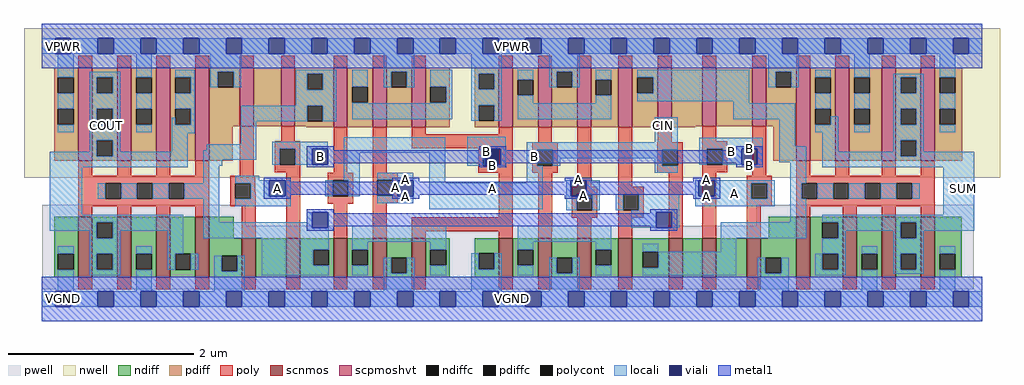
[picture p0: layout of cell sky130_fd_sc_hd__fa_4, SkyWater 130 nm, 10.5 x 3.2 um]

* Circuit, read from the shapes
.subckt sky130_fd_sc_hd__fa_4 A B CIN VGND VNB VPB VPWR COUT SUM
XM1 COUT n1 VGND VNB sky130_fd_pr__nfet_01v8 w=0.65 l=0.15 m=4
XM2 n2 A VGND VNB sky130_fd_pr__nfet_01v8 w=0.42 l=0.15
XM3 n1 B n2 VNB sky130_fd_pr__nfet_01v8 w=0.42 l=0.15
XM4 n3 CIN n1 VNB sky130_fd_pr__nfet_01v8 w=0.42 l=0.15
XM5 VGND A n3 VNB sky130_fd_pr__nfet_01v8 w=0.42 l=0.15
XM6 n3 B VGND VNB sky130_fd_pr__nfet_01v8 w=0.42 l=0.15
XM7 n4 B VGND VNB sky130_fd_pr__nfet_01v8 w=0.42 l=0.15
XM8 VGND CIN n4 VNB sky130_fd_pr__nfet_01v8 w=0.42 l=0.15
XM9 n4 A VGND VNB sky130_fd_pr__nfet_01v8 w=0.42 l=0.15
XM10 n5 n1 n4 VNB sky130_fd_pr__nfet_01v8 w=0.42 l=0.15
XM11 n6 CIN n5 VNB sky130_fd_pr__nfet_01v8 w=0.42 l=0.15
XM12 n7 B n6 VNB sky130_fd_pr__nfet_01v8 w=0.42 l=0.15
XM13 VGND A n7 VNB sky130_fd_pr__nfet_01v8 w=0.42 l=0.15
XM14 SUM n5 VGND VNB sky130_fd_pr__nfet_01v8 w=0.65 l=0.15 m=4
XM15 COUT n1 VPWR VPB sky130_fd_pr__pfet_01v8_hvt w=1 l=0.15 m=4
XM16 n8 A VPWR VPB sky130_fd_pr__pfet_01v8_hvt w=0.63 l=0.15
XM17 n1 B n8 VPB sky130_fd_pr__pfet_01v8_hvt w=0.63 l=0.15
XM18 n9 CIN n1 VPB sky130_fd_pr__pfet_01v8_hvt w=0.64 l=0.15
XM19 VPWR A n9 VPB sky130_fd_pr__pfet_01v8_hvt w=0.64 l=0.15
XM20 n9 B VPWR VPB sky130_fd_pr__pfet_01v8_hvt w=0.64 l=0.15
XM21 n10 B VPWR VPB sky130_fd_pr__pfet_01v8_hvt w=0.64 l=0.15
XM22 VPWR CIN n10 VPB sky130_fd_pr__pfet_01v8_hvt w=0.64 l=0.15
XM23 n10 A VPWR VPB sky130_fd_pr__pfet_01v8_hvt w=0.64 l=0.15
XM24 n5 n1 n10 VPB sky130_fd_pr__pfet_01v8_hvt w=0.64 l=0.15
XM25 n11 CIN n5 VPB sky130_fd_pr__pfet_01v8_hvt w=0.64 l=0.15
XM26 n12 B n11 VPB sky130_fd_pr__pfet_01v8_hvt w=0.63 l=0.15
XM27 VPWR A n12 VPB sky130_fd_pr__pfet_01v8_hvt w=0.63 l=0.15
XM28 SUM n5 VPWR VPB sky130_fd_pr__pfet_01v8_hvt w=1 l=0.15 m=4
.ends

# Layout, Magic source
magic
tech sky130B
magscale 1 2
<< nwell >>
rect -38 261 2062 582
<< pwell >>
rect 1 157 439 203
rect 1538 157 2006 203
rect 1 21 2006 157
rect 30 -17 64 21
<< scnmos >>
rect 79 47 109 177
rect 163 47 193 177
rect 247 47 277 177
rect 331 47 361 177
rect 431 47 461 131
rect 526 47 556 131
rect 628 47 658 131
rect 712 47 742 131
rect 796 47 826 131
rect 984 47 1014 131
rect 1068 47 1098 131
rect 1152 47 1182 131
rect 1241 47 1271 131
rect 1349 47 1379 131
rect 1421 47 1451 131
rect 1517 47 1547 131
rect 1624 47 1654 177
rect 1724 47 1754 177
rect 1808 47 1838 177
rect 1892 47 1922 177
<< scpmoshvt >>
rect 79 297 109 497
rect 163 297 193 497
rect 247 297 277 497
rect 331 297 361 497
rect 426 371 456 497
rect 515 371 545 497
rect 628 369 658 497
rect 712 369 742 497
rect 796 369 826 497
rect 984 369 1014 497
rect 1068 369 1098 497
rect 1152 369 1182 497
rect 1241 369 1271 497
rect 1326 369 1356 497
rect 1421 371 1451 497
rect 1529 371 1559 497
rect 1624 297 1654 497
rect 1708 297 1738 497
rect 1808 297 1838 497
rect 1892 297 1922 497
<< ndiff >>
rect 27 97 79 177
rect 27 63 35 97
rect 69 63 79 97
rect 27 47 79 63
rect 109 165 163 177
rect 109 131 119 165
rect 153 131 163 165
rect 109 97 163 131
rect 109 63 119 97
rect 153 63 163 97
rect 109 47 163 63
rect 193 97 247 177
rect 193 63 203 97
rect 237 63 247 97
rect 193 47 247 63
rect 277 97 331 177
rect 277 63 287 97
rect 321 63 331 97
rect 277 47 331 63
rect 361 131 413 177
rect 1564 131 1624 177
rect 361 93 431 131
rect 361 59 387 93
rect 421 59 431 93
rect 361 47 431 59
rect 461 47 526 131
rect 556 106 628 131
rect 556 72 584 106
rect 618 72 628 106
rect 556 47 628 72
rect 658 106 712 131
rect 658 72 668 106
rect 702 72 712 106
rect 658 47 712 72
rect 742 89 796 131
rect 742 55 752 89
rect 786 55 796 89
rect 742 47 796 55
rect 826 106 878 131
rect 826 72 836 106
rect 870 72 878 106
rect 826 47 878 72
rect 932 98 984 131
rect 932 64 940 98
rect 974 64 984 98
rect 932 47 984 64
rect 1014 106 1068 131
rect 1014 72 1024 106
rect 1058 72 1068 106
rect 1014 47 1068 72
rect 1098 89 1152 131
rect 1098 55 1108 89
rect 1142 55 1152 89
rect 1098 47 1152 55
rect 1182 106 1241 131
rect 1182 72 1192 106
rect 1226 72 1241 106
rect 1182 47 1241 72
rect 1271 101 1349 131
rect 1271 67 1293 101
rect 1327 67 1349 101
rect 1271 47 1349 67
rect 1379 47 1421 131
rect 1451 47 1517 131
rect 1547 89 1624 131
rect 1547 55 1557 89
rect 1591 55 1624 89
rect 1547 47 1624 55
rect 1654 165 1724 177
rect 1654 131 1680 165
rect 1714 131 1724 165
rect 1654 97 1724 131
rect 1654 63 1680 97
rect 1714 63 1724 97
rect 1654 47 1724 63
rect 1754 97 1808 177
rect 1754 63 1764 97
rect 1798 63 1808 97
rect 1754 47 1808 63
rect 1838 165 1892 177
rect 1838 131 1848 165
rect 1882 131 1892 165
rect 1838 97 1892 131
rect 1838 63 1848 97
rect 1882 63 1892 97
rect 1838 47 1892 63
rect 1922 97 1980 177
rect 1922 63 1932 97
rect 1966 63 1980 97
rect 1922 47 1980 63
<< pdiff >>
rect 27 477 79 497
rect 27 443 35 477
rect 69 443 79 477
rect 27 409 79 443
rect 27 375 35 409
rect 69 375 79 409
rect 27 297 79 375
rect 109 477 163 497
rect 109 443 119 477
rect 153 443 163 477
rect 109 409 163 443
rect 109 375 119 409
rect 153 375 163 409
rect 109 341 163 375
rect 109 307 119 341
rect 153 307 163 341
rect 109 297 163 307
rect 193 477 247 497
rect 193 443 203 477
rect 237 443 247 477
rect 193 409 247 443
rect 193 375 203 409
rect 237 375 247 409
rect 193 297 247 375
rect 277 477 331 497
rect 277 443 287 477
rect 321 443 331 477
rect 277 409 331 443
rect 277 375 287 409
rect 321 375 331 409
rect 277 297 331 375
rect 361 489 426 497
rect 361 455 379 489
rect 413 455 426 489
rect 361 371 426 455
rect 456 371 515 497
rect 545 484 628 497
rect 545 450 571 484
rect 605 450 628 484
rect 545 416 628 450
rect 545 382 571 416
rect 605 382 628 416
rect 545 371 628 382
rect 361 297 411 371
rect 569 369 628 371
rect 658 456 712 497
rect 658 422 668 456
rect 702 422 712 456
rect 658 369 712 422
rect 742 489 796 497
rect 742 455 752 489
rect 786 455 796 489
rect 742 369 796 455
rect 826 456 878 497
rect 826 422 836 456
rect 870 422 878 456
rect 826 369 878 422
rect 932 485 984 497
rect 932 451 940 485
rect 974 451 984 485
rect 932 417 984 451
rect 932 383 940 417
rect 974 383 984 417
rect 932 369 984 383
rect 1014 472 1068 497
rect 1014 438 1024 472
rect 1058 438 1068 472
rect 1014 369 1068 438
rect 1098 489 1152 497
rect 1098 455 1108 489
rect 1142 455 1152 489
rect 1098 369 1152 455
rect 1182 472 1241 497
rect 1182 438 1192 472
rect 1226 438 1241 472
rect 1182 369 1241 438
rect 1271 477 1326 497
rect 1271 443 1282 477
rect 1316 443 1326 477
rect 1271 369 1326 443
rect 1356 371 1421 497
rect 1451 371 1529 497
rect 1559 489 1624 497
rect 1559 455 1579 489
rect 1613 455 1624 489
rect 1559 371 1624 455
rect 1356 369 1406 371
rect 1574 297 1624 371
rect 1654 477 1708 497
rect 1654 443 1664 477
rect 1698 443 1708 477
rect 1654 409 1708 443
rect 1654 375 1664 409
rect 1698 375 1708 409
rect 1654 297 1708 375
rect 1738 477 1808 497
rect 1738 443 1748 477
rect 1782 443 1808 477
rect 1738 409 1808 443
rect 1738 375 1748 409
rect 1782 375 1808 409
rect 1738 297 1808 375
rect 1838 477 1892 497
rect 1838 443 1848 477
rect 1882 443 1892 477
rect 1838 409 1892 443
rect 1838 375 1848 409
rect 1882 375 1892 409
rect 1838 341 1892 375
rect 1838 307 1848 341
rect 1882 307 1892 341
rect 1838 297 1892 307
rect 1922 477 1981 497
rect 1922 443 1932 477
rect 1966 443 1981 477
rect 1922 409 1981 443
rect 1922 375 1932 409
rect 1966 375 1981 409
rect 1922 297 1981 375
<< ndiffc >>
rect 35 63 69 97
rect 119 131 153 165
rect 119 63 153 97
rect 203 63 237 97
rect 287 63 321 97
rect 387 59 421 93
rect 584 72 618 106
rect 668 72 702 106
rect 752 55 786 89
rect 836 72 870 106
rect 940 64 974 98
rect 1024 72 1058 106
rect 1108 55 1142 89
rect 1192 72 1226 106
rect 1293 67 1327 101
rect 1557 55 1591 89
rect 1680 131 1714 165
rect 1680 63 1714 97
rect 1764 63 1798 97
rect 1848 131 1882 165
rect 1848 63 1882 97
rect 1932 63 1966 97
<< pdiffc >>
rect 35 443 69 477
rect 35 375 69 409
rect 119 443 153 477
rect 119 375 153 409
rect 119 307 153 341
rect 203 443 237 477
rect 203 375 237 409
rect 287 443 321 477
rect 287 375 321 409
rect 379 455 413 489
rect 571 450 605 484
rect 571 382 605 416
rect 668 422 702 456
rect 752 455 786 489
rect 836 422 870 456
rect 940 451 974 485
rect 940 383 974 417
rect 1024 438 1058 472
rect 1108 455 1142 489
rect 1192 438 1226 472
rect 1282 443 1316 477
rect 1579 455 1613 489
rect 1664 443 1698 477
rect 1664 375 1698 409
rect 1748 443 1782 477
rect 1748 375 1782 409
rect 1848 443 1882 477
rect 1848 375 1882 409
rect 1848 307 1882 341
rect 1932 443 1966 477
rect 1932 375 1966 409
<< poly >>
rect 79 497 109 523
rect 163 497 193 523
rect 247 497 277 523
rect 331 497 361 523
rect 426 497 456 523
rect 515 497 545 523
rect 628 497 658 523
rect 712 497 742 523
rect 796 497 826 523
rect 984 497 1014 523
rect 1068 497 1098 523
rect 1152 497 1182 523
rect 1241 497 1271 523
rect 1326 497 1356 523
rect 1421 497 1451 523
rect 1529 497 1559 523
rect 1624 497 1654 523
rect 1708 497 1738 523
rect 1808 497 1838 523
rect 1892 497 1922 523
rect 79 265 109 297
rect 163 265 193 297
rect 247 265 277 297
rect 331 265 361 297
rect 426 265 456 371
rect 515 339 545 371
rect 502 323 556 339
rect 502 289 512 323
rect 546 289 556 323
rect 502 273 556 289
rect 79 249 361 265
rect 79 215 137 249
rect 171 215 205 249
rect 239 215 273 249
rect 307 215 361 249
rect 79 199 361 215
rect 406 249 460 265
rect 406 215 416 249
rect 450 229 460 249
rect 450 215 461 229
rect 406 199 461 215
rect 79 177 109 199
rect 163 177 193 199
rect 247 177 277 199
rect 331 177 361 199
rect 431 131 461 199
rect 526 131 556 273
rect 628 271 658 369
rect 712 272 742 369
rect 796 354 826 369
rect 984 354 1014 369
rect 796 324 1014 354
rect 1068 337 1098 369
rect 939 321 1014 324
rect 939 287 949 321
rect 983 287 1014 321
rect 616 255 670 271
rect 616 221 626 255
rect 660 221 670 255
rect 616 205 670 221
rect 712 256 766 272
rect 939 271 1014 287
rect 1056 321 1110 337
rect 1056 287 1066 321
rect 1100 287 1110 321
rect 1056 271 1110 287
rect 712 222 722 256
rect 756 222 766 256
rect 712 206 766 222
rect 628 131 658 205
rect 712 131 742 206
rect 984 176 1014 271
rect 1069 176 1099 271
rect 1152 241 1182 369
rect 1241 241 1271 369
rect 1326 337 1356 369
rect 1421 339 1451 371
rect 1325 321 1379 337
rect 1325 287 1335 321
rect 1369 287 1379 321
rect 1325 271 1379 287
rect 796 146 1014 176
rect 796 131 826 146
rect 984 131 1014 146
rect 1068 146 1099 176
rect 1141 225 1195 241
rect 1141 191 1151 225
rect 1185 191 1195 225
rect 1141 175 1195 191
rect 1241 225 1295 241
rect 1241 191 1251 225
rect 1285 191 1295 225
rect 1241 175 1295 191
rect 1068 131 1098 146
rect 1152 131 1182 175
rect 1241 131 1271 175
rect 1349 131 1379 271
rect 1421 323 1475 339
rect 1421 289 1431 323
rect 1465 289 1475 323
rect 1421 273 1475 289
rect 1421 131 1451 273
rect 1529 265 1559 371
rect 1624 265 1654 297
rect 1708 265 1738 297
rect 1808 265 1838 297
rect 1892 265 1922 297
rect 1517 249 1571 265
rect 1517 215 1527 249
rect 1561 215 1571 249
rect 1517 199 1571 215
rect 1624 249 1922 265
rect 1624 215 1635 249
rect 1669 215 1703 249
rect 1737 215 1771 249
rect 1805 215 1839 249
rect 1873 215 1922 249
rect 1624 199 1922 215
rect 1517 131 1547 199
rect 1624 177 1654 199
rect 1724 177 1754 199
rect 1808 177 1838 199
rect 1892 177 1922 199
rect 79 21 109 47
rect 163 21 193 47
rect 247 21 277 47
rect 331 21 361 47
rect 431 21 461 47
rect 526 21 556 47
rect 628 21 658 47
rect 712 21 742 47
rect 796 21 826 47
rect 984 21 1014 47
rect 1068 21 1098 47
rect 1152 21 1182 47
rect 1241 21 1271 47
rect 1349 21 1379 47
rect 1421 21 1451 47
rect 1517 21 1547 47
rect 1624 21 1654 47
rect 1724 21 1754 47
rect 1808 21 1838 47
rect 1892 21 1922 47
<< polycont >>
rect 512 289 546 323
rect 137 215 171 249
rect 205 215 239 249
rect 273 215 307 249
rect 416 215 450 249
rect 949 287 983 321
rect 626 221 660 255
rect 1066 287 1100 321
rect 722 222 756 256
rect 1335 287 1369 321
rect 1151 191 1185 225
rect 1251 191 1285 225
rect 1431 289 1465 323
rect 1527 215 1561 249
rect 1635 215 1669 249
rect 1703 215 1737 249
rect 1771 215 1805 249
rect 1839 215 1873 249
<< locali >>
rect 0 527 29 561
rect 63 527 121 561
rect 155 527 213 561
rect 247 527 305 561
rect 339 527 397 561
rect 431 527 489 561
rect 523 527 581 561
rect 615 527 673 561
rect 707 527 765 561
rect 799 527 857 561
rect 891 527 949 561
rect 983 527 1041 561
rect 1075 527 1133 561
rect 1167 527 1225 561
rect 1259 527 1317 561
rect 1351 527 1409 561
rect 1443 527 1501 561
rect 1535 527 1593 561
rect 1627 527 1685 561
rect 1719 527 1777 561
rect 1811 527 1869 561
rect 1903 527 1961 561
rect 1995 527 2024 561
rect 35 477 69 527
rect 35 409 69 443
rect 35 359 69 375
rect 103 477 169 489
rect 103 443 119 477
rect 153 443 169 477
rect 103 409 169 443
rect 103 375 119 409
rect 153 375 169 409
rect 103 341 169 375
rect 203 477 237 527
rect 203 409 237 443
rect 287 477 329 493
rect 321 443 329 477
rect 363 489 429 527
rect 363 455 379 489
rect 413 455 429 489
rect 547 484 634 493
rect 287 409 329 443
rect 547 450 571 484
rect 605 450 634 484
rect 547 416 634 450
rect 203 359 237 375
rect 280 375 287 390
rect 321 375 329 409
rect 103 317 119 341
rect 17 307 119 317
rect 153 317 169 341
rect 280 356 329 375
rect 428 382 571 416
rect 605 382 634 416
rect 668 456 702 493
rect 736 489 802 527
rect 736 455 752 489
rect 786 455 802 489
rect 836 456 883 493
rect 668 421 702 422
rect 870 422 883 456
rect 836 421 883 422
rect 668 387 883 421
rect 924 485 990 527
rect 924 451 940 485
rect 974 451 990 485
rect 924 417 990 451
rect 924 383 940 417
rect 974 383 990 417
rect 1024 472 1058 493
rect 1092 489 1158 527
rect 1092 455 1108 489
rect 1142 455 1158 489
rect 1192 472 1226 493
rect 1024 421 1058 438
rect 1192 421 1226 438
rect 1282 477 1522 493
rect 1316 443 1522 477
rect 1563 489 1629 527
rect 1563 455 1579 489
rect 1613 455 1629 489
rect 1664 477 1698 493
rect 1282 425 1522 443
rect 1024 387 1226 421
rect 1488 421 1522 425
rect 280 317 314 356
rect 428 333 462 382
rect 355 320 462 333
rect 153 307 314 317
rect 17 283 314 307
rect 348 299 462 320
rect 496 323 616 338
rect 348 286 389 299
rect 496 289 512 323
rect 546 289 582 323
rect 650 314 868 348
rect 17 181 87 283
rect 348 249 382 286
rect 121 215 137 249
rect 171 215 205 249
rect 239 215 273 249
rect 307 215 382 249
rect 17 165 305 181
rect 17 147 119 165
rect 103 131 119 147
rect 153 147 305 165
rect 153 131 169 147
rect 35 97 69 113
rect 35 17 69 63
rect 103 97 169 131
rect 103 63 119 97
rect 153 63 169 97
rect 103 51 169 63
rect 203 97 237 113
rect 271 97 305 147
rect 348 165 382 215
rect 416 255 468 265
rect 650 255 684 314
rect 416 249 490 255
rect 450 221 490 249
rect 524 221 536 255
rect 610 221 626 255
rect 660 221 684 255
rect 722 256 800 272
rect 756 255 800 256
rect 756 222 766 255
rect 722 221 766 222
rect 450 215 536 221
rect 416 199 536 215
rect 722 206 800 221
rect 834 250 868 314
rect 916 323 999 349
rect 1319 337 1369 391
rect 1488 387 1621 421
rect 916 321 954 323
rect 916 287 949 321
rect 988 289 999 323
rect 983 287 999 289
rect 1044 321 1369 337
rect 1044 287 1066 321
rect 1100 303 1335 321
rect 1100 287 1116 303
rect 1319 287 1335 303
rect 1415 323 1552 347
rect 1415 289 1431 323
rect 1465 289 1506 323
rect 1540 289 1552 323
rect 1587 328 1621 387
rect 1664 409 1698 443
rect 1748 477 1782 527
rect 1748 409 1782 443
rect 1698 375 1714 393
rect 1664 359 1714 375
rect 1748 359 1782 375
rect 1832 477 1898 485
rect 1832 443 1848 477
rect 1882 443 1898 477
rect 1832 409 1898 443
rect 1832 375 1848 409
rect 1882 375 1898 409
rect 1587 294 1645 328
rect 1044 250 1078 287
rect 1319 271 1369 287
rect 834 193 1078 250
rect 1129 221 1138 255
rect 1172 225 1201 255
rect 1129 191 1151 221
rect 1185 191 1201 225
rect 1235 191 1251 225
rect 1285 191 1372 225
rect 1406 221 1414 255
rect 1448 249 1577 255
rect 1448 221 1527 249
rect 1406 215 1527 221
rect 1561 215 1577 249
rect 1406 199 1577 215
rect 1611 249 1645 294
rect 1680 317 1714 359
rect 1832 341 1898 375
rect 1932 477 1966 527
rect 1932 409 1966 443
rect 1932 359 1966 375
rect 1832 317 1848 341
rect 1680 307 1848 317
rect 1882 317 1898 341
rect 1882 307 2007 317
rect 1680 283 2007 307
rect 1611 215 1635 249
rect 1669 215 1703 249
rect 1737 215 1771 249
rect 1805 215 1839 249
rect 1873 215 1889 249
rect 1269 187 1372 191
rect 570 165 582 187
rect 348 153 582 165
rect 616 153 618 187
rect 348 131 618 153
rect 474 106 618 131
rect 271 63 287 97
rect 321 63 337 97
rect 203 17 237 63
rect 371 59 387 93
rect 421 59 437 93
rect 371 17 437 59
rect 474 72 584 106
rect 474 51 618 72
rect 668 123 870 157
rect 668 106 702 123
rect 836 106 870 123
rect 668 51 702 72
rect 736 55 752 89
rect 786 55 802 89
rect 736 17 802 55
rect 1024 123 1226 157
rect 1269 153 1322 187
rect 1356 153 1372 187
rect 1611 165 1645 215
rect 1940 181 2007 283
rect 1024 106 1058 123
rect 836 51 870 72
rect 924 64 940 98
rect 974 64 990 98
rect 924 17 990 64
rect 1192 106 1226 123
rect 1461 131 1645 165
rect 1680 165 2007 181
rect 1714 147 1848 165
rect 1714 131 1730 147
rect 1024 51 1058 72
rect 1092 55 1108 89
rect 1142 55 1158 89
rect 1092 17 1158 55
rect 1192 51 1226 72
rect 1293 101 1327 119
rect 1461 101 1495 131
rect 1327 67 1495 101
rect 1680 97 1730 131
rect 1832 131 1848 147
rect 1882 147 2007 165
rect 1882 131 1898 147
rect 1293 51 1495 67
rect 1541 55 1557 89
rect 1591 55 1607 89
rect 1541 17 1607 55
rect 1664 63 1680 97
rect 1714 63 1730 97
rect 1664 51 1730 63
rect 1764 97 1798 113
rect 1764 17 1798 63
rect 1832 97 1898 131
rect 1832 63 1848 97
rect 1882 63 1898 97
rect 1832 54 1898 63
rect 1932 97 1966 113
rect 1932 17 1966 63
rect 0 -17 29 17
rect 63 -17 121 17
rect 155 -17 213 17
rect 247 -17 305 17
rect 339 -17 397 17
rect 431 -17 489 17
rect 523 -17 581 17
rect 615 -17 673 17
rect 707 -17 765 17
rect 799 -17 857 17
rect 891 -17 949 17
rect 983 -17 1041 17
rect 1075 -17 1133 17
rect 1167 -17 1225 17
rect 1259 -17 1317 17
rect 1351 -17 1409 17
rect 1443 -17 1501 17
rect 1535 -17 1593 17
rect 1627 -17 1685 17
rect 1719 -17 1777 17
rect 1811 -17 1869 17
rect 1903 -17 1961 17
rect 1995 -17 2024 17
<< viali >>
rect 29 527 63 561
rect 121 527 155 561
rect 213 527 247 561
rect 305 527 339 561
rect 397 527 431 561
rect 489 527 523 561
rect 581 527 615 561
rect 673 527 707 561
rect 765 527 799 561
rect 857 527 891 561
rect 949 527 983 561
rect 1041 527 1075 561
rect 1133 527 1167 561
rect 1225 527 1259 561
rect 1317 527 1351 561
rect 1409 527 1443 561
rect 1501 527 1535 561
rect 1593 527 1627 561
rect 1685 527 1719 561
rect 1777 527 1811 561
rect 1869 527 1903 561
rect 1961 527 1995 561
rect 582 289 616 323
rect 490 221 524 255
rect 766 221 800 255
rect 954 321 988 323
rect 954 289 983 321
rect 983 289 988 321
rect 1506 289 1540 323
rect 1138 225 1172 255
rect 1138 221 1151 225
rect 1151 221 1172 225
rect 1414 221 1448 255
rect 582 153 616 187
rect 1322 153 1356 187
rect 29 -17 63 17
rect 121 -17 155 17
rect 213 -17 247 17
rect 305 -17 339 17
rect 397 -17 431 17
rect 489 -17 523 17
rect 581 -17 615 17
rect 673 -17 707 17
rect 765 -17 799 17
rect 857 -17 891 17
rect 949 -17 983 17
rect 1041 -17 1075 17
rect 1133 -17 1167 17
rect 1225 -17 1259 17
rect 1317 -17 1351 17
rect 1409 -17 1443 17
rect 1501 -17 1535 17
rect 1593 -17 1627 17
rect 1685 -17 1719 17
rect 1777 -17 1811 17
rect 1869 -17 1903 17
rect 1961 -17 1995 17
<< metal1 >>
rect 0 561 2024 592
rect 0 527 29 561
rect 63 527 121 561
rect 155 527 213 561
rect 247 527 305 561
rect 339 527 397 561
rect 431 527 489 561
rect 523 527 581 561
rect 615 527 673 561
rect 707 527 765 561
rect 799 527 857 561
rect 891 527 949 561
rect 983 527 1041 561
rect 1075 527 1133 561
rect 1167 527 1225 561
rect 1259 527 1317 561
rect 1351 527 1409 561
rect 1443 527 1501 561
rect 1535 527 1593 561
rect 1627 527 1685 561
rect 1719 527 1777 561
rect 1811 527 1869 561
rect 1903 527 1961 561
rect 1995 527 2024 561
rect 0 496 2024 527
rect 570 323 628 329
rect 570 289 582 323
rect 616 320 628 323
rect 942 323 1000 329
rect 942 320 954 323
rect 616 292 954 320
rect 616 289 628 292
rect 570 283 628 289
rect 942 289 954 292
rect 988 320 1000 323
rect 1494 323 1552 329
rect 1494 320 1506 323
rect 988 292 1506 320
rect 988 289 1000 292
rect 942 283 1000 289
rect 1494 289 1506 292
rect 1540 289 1552 323
rect 1494 283 1552 289
rect 478 255 536 261
rect 478 221 490 255
rect 524 252 536 255
rect 754 255 812 261
rect 754 252 766 255
rect 524 224 766 252
rect 524 221 536 224
rect 478 215 536 221
rect 754 221 766 224
rect 800 252 812 255
rect 1126 255 1184 261
rect 1126 252 1138 255
rect 800 224 1138 252
rect 800 221 812 224
rect 754 215 812 221
rect 1126 221 1138 224
rect 1172 252 1184 255
rect 1402 255 1460 261
rect 1402 252 1414 255
rect 1172 224 1414 252
rect 1172 221 1184 224
rect 1126 215 1184 221
rect 1402 221 1414 224
rect 1448 221 1460 255
rect 1402 215 1460 221
rect 570 187 628 193
rect 570 153 582 187
rect 616 184 628 187
rect 1310 187 1368 193
rect 1310 184 1322 187
rect 616 156 1322 184
rect 616 153 628 156
rect 570 147 628 153
rect 1310 153 1322 156
rect 1356 153 1368 187
rect 1310 147 1368 153
rect 0 17 2024 48
rect 0 -17 29 17
rect 63 -17 121 17
rect 155 -17 213 17
rect 247 -17 305 17
rect 339 -17 397 17
rect 431 -17 489 17
rect 523 -17 581 17
rect 615 -17 673 17
rect 707 -17 765 17
rect 799 -17 857 17
rect 891 -17 949 17
rect 983 -17 1041 17
rect 1075 -17 1133 17
rect 1167 -17 1225 17
rect 1259 -17 1317 17
rect 1351 -17 1409 17
rect 1443 -17 1501 17
rect 1535 -17 1593 17
rect 1627 -17 1685 17
rect 1719 -17 1777 17
rect 1811 -17 1869 17
rect 1903 -17 1961 17
rect 1995 -17 2024 17
rect 0 -48 2024 -17
<< labels >>
flabel locali s 122 357 156 391 0 FreeSans 200 0 0 0 COUT
port 8 nsew signal output
flabel locali s 1966 221 2000 255 0 FreeSans 200 0 0 0 SUM
port 9 nsew signal output
flabel locali s 490 221 524 255 0 FreeSans 200 0 0 0 A
port 1 nsew signal input
flabel locali s 582 289 616 323 0 FreeSans 200 0 0 0 B
port 2 nsew signal input
flabel locali s 1322 357 1356 391 0 FreeSans 200 0 0 0 CIN
port 3 nsew signal input
flabel locali s 30 -17 64 17 0 FreeSans 200 0 0 0 VGND
port 4 nsew ground bidirectional abutment
flabel locali s 30 527 64 561 0 FreeSans 200 0 0 0 VPWR
port 7 nsew power bidirectional abutment
flabel nwell s 30 527 64 561 0 FreeSans 200 0 0 0 VPB
port 6 nsew power bidirectional
flabel pwell s 30 -17 64 17 0 FreeSans 200 0 0 0 VNB
port 5 nsew ground bidirectional
flabel metal1 s 30 -17 64 17 0 FreeSans 200 0 0 0 VGND
port 4 nsew ground bidirectional abutment
flabel metal1 s 30 527 64 561 0 FreeSans 200 0 0 0 VPWR
port 7 nsew power bidirectional abutment
rlabel comment s 0 0 0 0 4 fa_4
rlabel locali s 722 206 800 272 1 A
port 1 nsew signal input
rlabel locali s 1129 191 1201 255 1 A
port 1 nsew signal input
rlabel locali s 1406 199 1577 255 1 A
port 1 nsew signal input
rlabel metal1 s 1402 252 1460 261 1 A
port 1 nsew signal input
rlabel metal1 s 1402 215 1460 224 1 A
port 1 nsew signal input
rlabel metal1 s 1126 252 1184 261 1 A
port 1 nsew signal input
rlabel metal1 s 1126 215 1184 224 1 A
port 1 nsew signal input
rlabel metal1 s 754 252 812 261 1 A
port 1 nsew signal input
rlabel metal1 s 754 215 812 224 1 A
port 1 nsew signal input
rlabel metal1 s 478 252 536 261 1 A
port 1 nsew signal input
rlabel metal1 s 478 224 1460 252 1 A
port 1 nsew signal input
rlabel metal1 s 478 215 536 224 1 A
port 1 nsew signal input
rlabel locali s 916 287 999 349 1 B
port 2 nsew signal input
rlabel locali s 1415 289 1552 347 1 B
port 2 nsew signal input
rlabel metal1 s 1494 320 1552 329 1 B
port 2 nsew signal input
rlabel metal1 s 1494 283 1552 292 1 B
port 2 nsew signal input
rlabel metal1 s 942 320 1000 329 1 B
port 2 nsew signal input
rlabel metal1 s 942 283 1000 292 1 B
port 2 nsew signal input
rlabel metal1 s 570 320 628 329 1 B
port 2 nsew signal input
rlabel metal1 s 570 292 1552 320 1 B
port 2 nsew signal input
rlabel metal1 s 570 283 628 292 1 B
port 2 nsew signal input
rlabel metal1 s 0 -48 2024 48 1 VGND
port 4 nsew ground bidirectional abutment
rlabel metal1 s 0 496 2024 592 1 VPWR
port 7 nsew power bidirectional abutment
<< properties >>
string FIXED_BBOX 0 0 2024 544
string GDS_END 2093974
string GDS_FILE $PDKPATH/libs.ref/sky130_fd_sc_hd/gds/sky130_fd_sc_hd.gds
string GDS_START 2078288
string LEFclass CORE
string LEFsite unithd
string LEFsymmetry X Y R90
string path 0.000 0.000 50.600 0.000 
<< end >>
